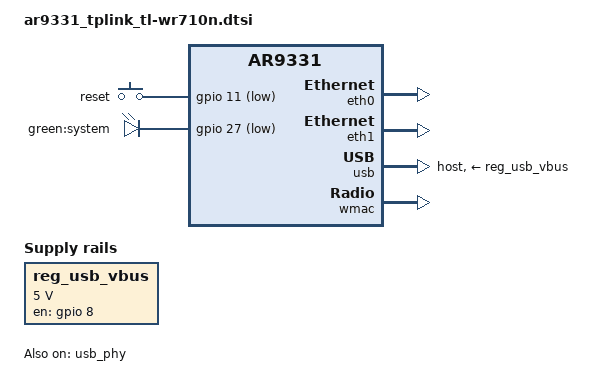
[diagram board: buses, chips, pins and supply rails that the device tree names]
// SPDX-License-Identifier: GPL-2.0-or-later OR MIT

#include "ar9331.dtsi"

#include <dt-bindings/gpio/gpio.h>
#include <dt-bindings/input/input.h>

/ {
	aliases {
		led-boot = &led_system;
		led-failsafe = &led_system;
		led-running = &led_system;
		led-upgrade = &led_system;
	};

	keys {
		compatible = "gpio-keys";

		reset {
			label = "reset";
			linux,code = <KEY_RESTART>;
			gpios = <&gpio 11 GPIO_ACTIVE_LOW>;
			debounce-interval = <60>;
		};
	};

	leds {
		compatible = "gpio-leds";

		led_system: system {
			label = "green:system";
			gpios = <&gpio 27 GPIO_ACTIVE_LOW>;
		};
	};

	reg_usb_vbus: regulator {
		compatible = "regulator-fixed";
		regulator-name = "usb_vbus";
		regulator-min-microvolt = <5000000>;
		regulator-max-microvolt = <5000000>;
		gpio = <&gpio 8 GPIO_ACTIVE_HIGH>;
		enable-active-high;
	};
};

&eth0 {
	status = "okay";

	gmac-config {
		device = <&gmac>;

		switch-phy-addr-swap = <0>;
		switch-phy-swap = <0>;
	};
};

&eth1 {
	status = "okay";
};

&usb {
	status = "okay";

	dr_mode = "host";
	vbus-supply = <&reg_usb_vbus>;
};

&usb_phy {
	status = "okay";
};

&wmac {
	status = "okay";
};
